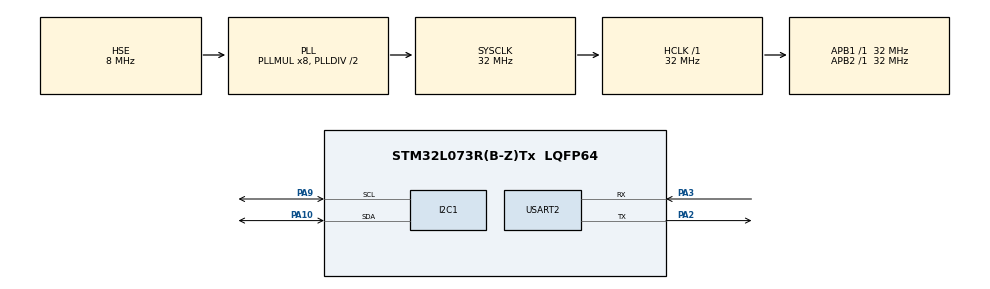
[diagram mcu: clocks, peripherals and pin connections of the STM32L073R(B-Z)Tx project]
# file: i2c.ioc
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Dma.I2C1_RX.0.Direction=DMA_PERIPH_TO_MEMORY
Dma.I2C1_RX.0.Instance=DMA1_Channel3
Dma.I2C1_RX.0.MemDataAlignment=DMA_MDATAALIGN_BYTE
Dma.I2C1_RX.0.MemInc=DMA_MINC_ENABLE
Dma.I2C1_RX.0.Mode=DMA_NORMAL
Dma.I2C1_RX.0.PeriphDataAlignment=DMA_PDATAALIGN_BYTE
Dma.I2C1_RX.0.PeriphInc=DMA_PINC_DISABLE
Dma.I2C1_RX.0.Priority=DMA_PRIORITY_LOW
Dma.I2C1_TX.1.Direction=DMA_MEMORY_TO_PERIPH
Dma.I2C1_TX.1.Instance=DMA1_Channel2
Dma.I2C1_TX.1.MemDataAlignment=DMA_MDATAALIGN_BYTE
Dma.I2C1_TX.1.MemInc=DMA_MINC_ENABLE
Dma.I2C1_TX.1.Mode=DMA_NORMAL
Dma.I2C1_TX.1.PeriphDataAlignment=DMA_PDATAALIGN_BYTE
Dma.I2C1_TX.1.PeriphInc=DMA_PINC_DISABLE
Dma.I2C1_TX.1.Priority=DMA_PRIORITY_LOW
Dma.Request0=I2C1_RX
Dma.Request1=I2C1_TX
I2C1.Timing=0x00707CBB
Mcu.Family=STM32L0
Mcu.Name=STM32L073R(B-Z)Tx
Mcu.Package=LQFP64
NVIC.DMA1_Channel2_3_IRQn=true\:0\:0\:false\:false\:true\:false
PA10.Mode=I2C
PA10.Signal=I2C1_SDA
PA13.Mode=Serial_Wire
PA13.Signal=SYS_SWDIO
PA14.Mode=Serial_Wire
PA14.Signal=SYS_SWCLK
PA2.Mode=Asynchronous
PA2.Signal=USART2_TX
PA3.Mode=Asynchronous
PA3.Signal=USART2_RX
PA9.Mode=I2C
PA9.Signal=I2C1_SCL
PH0-OSC_IN.Mode=HSE-External-Clock-Source
PH0-OSC_IN.Signal=RCC_OSC_IN
ProjectManager.HeapSize=0x200
ProjectManager.StackSize=0x400
ProjectManager.TargetToolchain=MDK-ARM V5
RCC.AHBFreq_Value=32000000
RCC.APB1Freq_Value=32000000
RCC.APB1TimFreq_Value=32000000
RCC.APB2Freq_Value=32000000
RCC.APB2TimFreq_Value=32000000
RCC.HCLKFreq_Value=32000000
RCC.HSE_VALUE=8000000
RCC.HSI16_VALUE=16000000
RCC.HSI48_VALUE=48000000
RCC.HSI_VALUE=16000000
RCC.LSE_VALUE=32768
RCC.MSI_VALUE=2097000
RCC.PLLMUL=RCC_PLLMUL_8
RCC.PLLSourceVirtual=RCC_PLLSOURCE_HSE
RCC.SYSCLKFreq_VALUE=32000000
RCC.SYSCLKSource=RCC_SYSCLKSOURCE_PLLCLK
RCC.VCOOutputFreq_Value=64000000
USART2.VirtualMode-Asynchronous=VM_ASYNC
board=custom

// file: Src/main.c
/**
  ******************************************************************************
  * @file           : main.c
  * @brief          : Main program body
  ******************************************************************************
  ** This notice applies to any and all portions of this file
  * that are not between comment pairs USER CODE BEGIN and
  * USER CODE END. Other portions of this file, whether
  * inserted by the user or by software development tools
  * are owned by their respective copyright owners.
  *
  * COPYRIGHT(c) 2018 STMicroelectronics
  *
  * Redistribution and use in source and binary forms, with or without modification,
  * are permitted provided that the following conditions are met:
  *   1. Redistributions of source code must retain the above copyright notice,
  *      this list of conditions and the following disclaimer.
  *   2. Redistributions in binary form must reproduce the above copyright notice,
  *      this list of conditions and the following disclaimer in the documentation
  *      and/or other materials provided with the distribution.
  *   3. Neither the name of STMicroelectronics nor the names of its contributors
  *      may be used to endorse or promote products derived from this software
  *      without specific prior written permission.
  *
  * THIS SOFTWARE IS PROVIDED BY THE COPYRIGHT HOLDERS AND CONTRIBUTORS "AS IS"
  * AND ANY EXPRESS OR IMPLIED WARRANTIES, INCLUDING, BUT NOT LIMITED TO, THE
  * IMPLIED WARRANTIES OF MERCHANTABILITY AND FITNESS FOR A PARTICULAR PURPOSE ARE
  * DISCLAIMED. IN NO EVENT SHALL THE COPYRIGHT HOLDER OR CONTRIBUTORS BE LIABLE
  * FOR ANY DIRECT, INDIRECT, INCIDENTAL, SPECIAL, EXEMPLARY, OR CONSEQUENTIAL
  * DAMAGES (INCLUDING, BUT NOT LIMITED TO, PROCUREMENT OF SUBSTITUTE GOODS OR
  * SERVICES; LOSS OF USE, DATA, OR PROFITS; OR BUSINESS INTERRUPTION) HOWEVER
  * CAUSED AND ON ANY THEORY OF LIABILITY, WHETHER IN CONTRACT, STRICT LIABILITY,
  * OR TORT (INCLUDING NEGLIGENCE OR OTHERWISE) ARISING IN ANY WAY OUT OF THE USE
  * OF THIS SOFTWARE, EVEN IF ADVISED OF THE POSSIBILITY OF SUCH DAMAGE.
  *
  ******************************************************************************
  */
#include "main.h"
#include "stm32l0xx_hal.h"
#include "dma.h"
#include "i2c.h"
#include "usart.h"
#include "gpio.h"

/* USER CODE BEGIN Includes */
#include "../inc/MPU6050.h"
/* USER CODE END Includes */

int16_t Accel_X, Accel_Y, Accel_Z;
int16_t Gyro_X, Gyro_Y, Gyro_Z;
/* USER CODE BEGIN PV */
/* Private variables ---------------------------------------------------------*/

/* USER CODE END PV */

void SystemClock_Config(void);

/* USER CODE BEGIN PFP */
/* Private function prototypes -----------------------------------------------*/

/* USER CODE END PFP */

/* USER CODE BEGIN 0 */
#define MPU6050 MPU6050_DEFAULT_ADDRESS

void MPU6050_Write(uint8_t Address, uint8_t data){
	HAL_I2C_Mem_Write(&hi2c1, MPU6050, Address, 1, (uint8_t *)&data, 1, 10);
}
void MPU6050_Write_bits(uint8_t Address, uint8_t bitStart, uint8_t length, uint8_t data){
	uint8_t tmp = 0;
	uint8_t mask = 0;
	switch(length){
		case 1: mask = 0x0; break;
		case 2: mask = 0x03; break;
		case 3: mask = 0x07; break;
		case 4: mask = 0x0F; break;
		case 5: mask = 0x1F; break;
		case 6: mask = 0x3F; break;
		case 7: mask = 0x7F; break;
		case 8: mask = 0xFF; break;
	}
	tmp &= ~(mask <<bitStart);
	tmp |= (data << bitStart);
	HAL_I2C_Mem_Write(&hi2c1, MPU6050, Address, 1, (uint8_t *)&tmp, 1, 10);
}
uint8_t MPU6050_Read(uint8_t Address){
    uint8_t data = 0;
    HAL_I2C_Mem_Read(&hi2c1, MPU6050, Address, 1, (uint8_t *)&data, 1, 10);
    return data;
}
void init_MPU6050(void){
    uint8_t temp = MPU6050_Read(MPU6050_RA_WHO_AM_I);
    printf("Who am I = 0x%02X\r\n", temp);
    printf("MPU6050 Initialize..... \r\n");
    printf("------------------------\r\n");

    HAL_Delay(100);
    MPU6050_Write_bits(MPU6050_RA_PWR_MGMT_1, MPU6050_PWR1_SLEEP_BIT, 0x01, DISABLE); // SetSleepModeStatus
    HAL_Delay(10);
    MPU6050_Write_bits(MPU6050_RA_PWR_MGMT_1, MPU6050_PWR1_CLKSEL_BIT, MPU6050_PWR1_CLKSEL_LENGTH, MPU6050_CLOCK_PLL_XGYRO);      // SetClockSource
    MPU6050_Write_bits(MPU6050_RA_GYRO_CONFIG, MPU6050_GCONFIG_FS_SEL_BIT, MPU6050_GCONFIG_FS_SEL_LENGTH, MPU6050_GYRO_FS_250);   // SetFullScaleGyroRange
    MPU6050_Write_bits(MPU6050_RA_ACCEL_CONFIG, MPU6050_ACONFIG_AFS_SEL_BIT, MPU6050_ACONFIG_AFS_SEL_LENGTH, MPU6050_ACCEL_FS_2); // SetFullScaleAccelRange
}
void read_MPU6050_data(void){
    Accel_X = (MPU6050_Read(MPU6050_RA_ACCEL_XOUT_H)<<8) | MPU6050_Read(MPU6050_RA_ACCEL_XOUT_L);
    Accel_Y = (MPU6050_Read(MPU6050_RA_ACCEL_YOUT_H)<<8) | MPU6050_Read(MPU6050_RA_ACCEL_YOUT_L);
    Accel_Z = (MPU6050_Read(MPU6050_RA_ACCEL_ZOUT_H)<<8) | MPU6050_Read(MPU6050_RA_ACCEL_ZOUT_L);
    Gyro_X  = (MPU6050_Read(MPU6050_RA_GYRO_XOUT_H)<<8) | MPU6050_Read(MPU6050_RA_GYRO_XOUT_L);
    Gyro_Y  = (MPU6050_Read(MPU6050_RA_GYRO_YOUT_H)<<8) | MPU6050_Read(MPU6050_RA_GYRO_YOUT_L);
    Gyro_Z  = (MPU6050_Read(MPU6050_RA_GYRO_ZOUT_H)<<8) | MPU6050_Read(MPU6050_RA_GYRO_ZOUT_L);
}
/*int (int32_t file, uint8_t *ptr, int32_t len){
    HAL_UART_Transmit(&huart4, ptr, len, 10);
    return len;
}*/
int fputc(int ch, FILE *f)
{
  uint8_t temp[1]={ch};
  HAL_UART_Transmit(&huart2, temp, 1, 2);
  return(ch);
}
/* USER CODE END 0 */

int main(void)
{

  /* MCU Configuration----------------------------------------------------------*/

  /* Reset of all peripherals, Initializes the Flash interface and the Systick. */
  HAL_Init();

  /* Configure the system clock */
  SystemClock_Config();

  /* Initialize all configured peripherals */
  MX_GPIO_Init();
  MX_DMA_Init();
  MX_I2C1_Init();
  MX_USART2_UART_Init();
  /* USER CODE BEGIN 2 */
	init_MPU6050();                          //??
  /* USER CODE END 2 */

  /* Infinite loop */
  /* USER CODE BEGIN WHILE */
  while (1)
  {
		read_MPU6050_data();
    printf("Accel_X = %6d / Accel_Y = %6d / Accel_Z = %6d \r\n", Accel_X, Accel_Y, Accel_Z);
    printf("Gyro_X  = %6d / Gyro_Y  = %6d / Gyro_Z  = %6d \r\n", Gyro_X, Gyro_Y, Gyro_Z);
    printf("--------------------------------------------------------\r\n");
    HAL_Delay(1000);
  /* USER CODE END WHILE */

  }

}

void SystemClock_Config(void)
{

  RCC_OscInitTypeDef RCC_OscInitStruct;
  RCC_ClkInitTypeDef RCC_ClkInitStruct;
  RCC_PeriphCLKInitTypeDef PeriphClkInit;

    /**Configure the main internal regulator output voltage
    */
  __HAL_PWR_VOLTAGESCALING_CONFIG(PWR_REGULATOR_VOLTAGE_SCALE1);

    /**Initializes the CPU, AHB and APB busses clocks
    */
  RCC_OscInitStruct.OscillatorType = RCC_OSCILLATORTYPE_HSE;
  RCC_OscInitStruct.HSEState = RCC_HSE_BYPASS;
  RCC_OscInitStruct.PLL.PLLState = RCC_PLL_ON;
  RCC_OscInitStruct.PLL.PLLSource = RCC_PLLSOURCE_HSE;
  RCC_OscInitStruct.PLL.PLLMUL = RCC_PLLMUL_8;
  RCC_OscInitStruct.PLL.PLLDIV = RCC_PLLDIV_2;
  if (HAL_RCC_OscConfig(&RCC_OscInitStruct) != HAL_OK)
  {
    _Error_Handler(__FILE__, __LINE__);
  }

    /**Initializes the CPU, AHB and APB busses clocks
    */
  RCC_ClkInitStruct.ClockType = RCC_CLOCKTYPE_HCLK|RCC_CLOCKTYPE_SYSCLK
                              |RCC_CLOCKTYPE_PCLK1|RCC_CLOCKTYPE_PCLK2;
  RCC_ClkInitStruct.SYSCLKSource = RCC_SYSCLKSOURCE_PLLCLK;
  RCC_ClkInitStruct.AHBCLKDivider = RCC_SYSCLK_DIV1;
  RCC_ClkInitStruct.APB1CLKDivider = RCC_HCLK_DIV1;
  RCC_ClkInitStruct.APB2CLKDivider = RCC_HCLK_DIV1;

  if (HAL_RCC_ClockConfig(&RCC_ClkInitStruct, FLASH_LATENCY_1) != HAL_OK)
  {
    _Error_Handler(__FILE__, __LINE__);
  }

  PeriphClkInit.PeriphClockSelection = RCC_PERIPHCLK_USART2|RCC_PERIPHCLK_I2C1;
  PeriphClkInit.Usart2ClockSelection = RCC_USART2CLKSOURCE_PCLK1;
  PeriphClkInit.I2c1ClockSelection = RCC_I2C1CLKSOURCE_PCLK1;
  if (HAL_RCCEx_PeriphCLKConfig(&PeriphClkInit) != HAL_OK)
  {
    _Error_Handler(__FILE__, __LINE__);
  }

    /**Configure the Systick interrupt time
    */
  HAL_SYSTICK_Config(HAL_RCC_GetHCLKFreq()/1000);

    /**Configure the Systick
    */
  HAL_SYSTICK_CLKSourceConfig(SYSTICK_CLKSOURCE_HCLK);

  /* SysTick_IRQn interrupt configuration */
  HAL_NVIC_SetPriority(SysTick_IRQn, 0, 0);
}

void _Error_Handler(char *file, int line)
{
  while(1)
  {
  }
}

/************************ (C) COPYRIGHT STMicroelectronics *****END OF FILE****/
